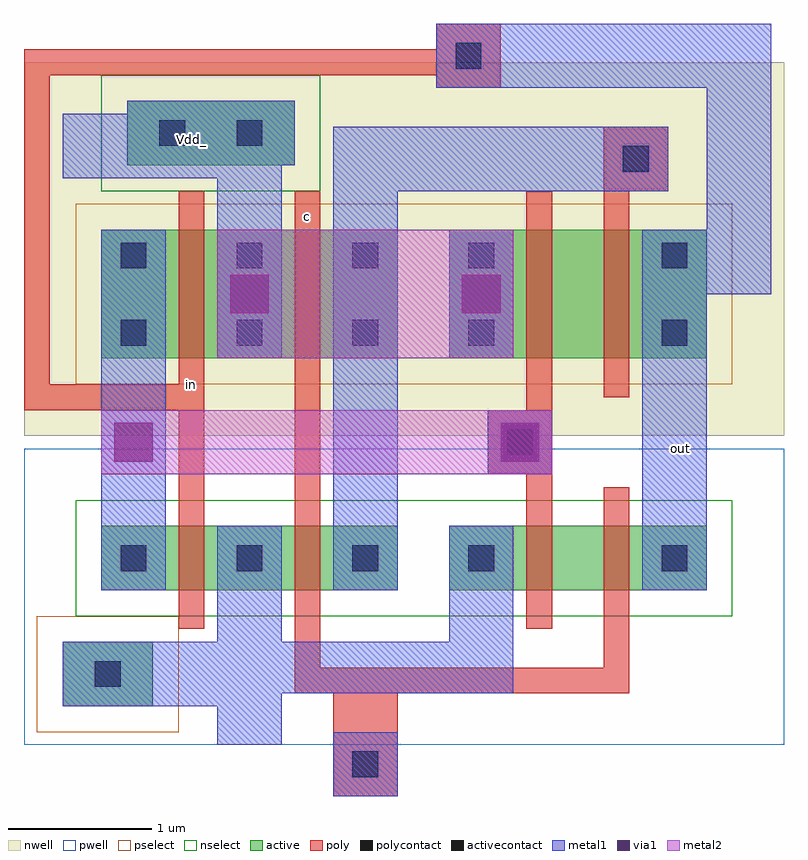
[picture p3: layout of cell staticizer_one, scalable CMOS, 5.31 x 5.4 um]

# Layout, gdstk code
import gdstk
lib = gdstk.Library(unit=1e-6, precision=1e-09)
def R(c, l, rs):  # rectangles x0, y0, x1, y1
    for r in rs: c.add(gdstk.rectangle(r[:2], r[2:], *l))
def A(c, l, x, y, w, h, nx, ny, dx, dy):  # array of equal rectangles
    R(c, l, [(x+i*dx, y+j*dy, x+i*dx+w, y+j*dy+h) for i in range(nx) for j in range(ny)])
pwell = (41, 0)
nwell = (42, 0)
active = (43, 0)
pselect = (44, 0)
nselect = (45, 0)
poly = (46, 0)
polycontact = (47, 0)
activecontact = (48, 0)
metal1 = (49, 0)
via1 = (50, 0)
metal2 = (51, 0)

staticizer_one = lib.new_cell('staticizer_one')
R(staticizer_one, pwell, [(4.86,-5.13,10.17,-3.06)])
R(staticizer_one, nwell, [(4.86,-2.97,10.17,-0.36)])
R(staticizer_one, active, [(5.13,-4.86,5.76,-4.41), (5.4,-4.05,7.47,-3.6), (7.83,-4.05,9.63,-3.6), (5.4,-2.43,7.47,-1.53), (7.83,-2.43,9.63,-1.53), (5.58,-1.08,6.75,-0.63)])
R(staticizer_one, pselect, [(4.95,-5.04,5.94,-4.23), (5.22,-2.61,9.81,-1.35)])
R(staticizer_one, nselect, [(5.22,-4.23,9.81,-3.42), (5.4,-1.26,6.93,-0.45)])
R(staticizer_one, poly, [(7.02,-5.49,7.47,-4.77), (6.75,-4.77,9.09,-4.59), (6.75,-4.59,6.93,-1.26), (8.91,-4.59,9.09,-3.33), (5.94,-4.32,6.12,-2.79), (8.37,-4.32,8.55,-3.24), (8.1,-3.24,8.55,-2.79), (4.86,-2.79,6.12,-2.61), (8.37,-2.79,8.55,-1.26), (8.91,-2.7,9.09,-1.26), (4.86,-2.61,5.04,-0.45), (5.94,-2.61,6.12,-1.26), (8.91,-1.26,9.36,-0.81), (7.74,-0.54,8.19,-0.45), (4.86,-0.45,8.19,-0.27), (7.74,-0.27,8.19,-0.09)])
R(staticizer_one, polycontact, [(7.155,-5.355,7.335,-5.175), (8.235,-3.105,8.415,-2.925), (9.045,-1.125,9.225,-0.945), (7.875,-0.405,8.055,-0.225)])
A(staticizer_one, activecontact, 5.535, -3.915, 0.18, 0.18, 4, 2, 0.81, 1.575)
A(staticizer_one, activecontact, 5.535, -1.8, 0.18, 0.18, 4, 1, 0.81, 0)
R(staticizer_one, activecontact, [(5.355,-4.725,5.535,-4.545), (9.315,-3.915,9.495,-3.735), (9.315,-2.34,9.495,-2.16), (9.315,-1.8,9.495,-1.62), (5.805,-0.945,5.985,-0.765), (6.345,-0.945,6.525,-0.765)])
R(staticizer_one, metal1, [(7.02,-5.49,7.47,-5.04), (6.21,-5.13,6.66,-4.86), (5.13,-4.86,6.66,-4.77), (5.13,-4.77,8.28,-4.41), (6.21,-4.41,6.66,-3.6), (7.83,-4.41,8.28,-3.6), (5.4,-4.05,5.85,-1.53), (7.02,-4.05,7.47,-1.26), (9.18,-4.05,9.63,-1.98), (8.1,-3.24,8.55,-2.79), (6.21,-2.43,6.66,-1.17), (7.83,-2.43,8.28,-1.53), (9.18,-1.98,10.08,-1.53), (9.63,-1.53,10.08,-0.54), (7.02,-1.26,9.36,-0.81), (5.13,-1.17,6.66,-1.08), (5.13,-1.08,6.75,-0.72), (5.58,-0.72,6.75,-0.63), (7.74,-0.54,10.08,-0.09)])
R(staticizer_one, via1, [(5.49,-3.15,5.76,-2.88), (8.19,-3.15,8.46,-2.88), (6.3,-2.115,6.57,-1.845), (7.92,-2.115,8.19,-1.845)])
R(staticizer_one, metal2, [(5.4,-3.24,8.55,-2.79), (6.21,-2.43,8.28,-1.53)])
staticizer_one.add(gdstk.Label('in', (6.03,-2.61), layer=46, texttype=0))
staticizer_one.add(gdstk.Label('out', (9.45,-3.06), layer=49, texttype=0))
staticizer_one.add(gdstk.Label('c', (6.84,-1.44), layer=46, texttype=0))
staticizer_one.add(gdstk.Label('Vdd_', (6.03,-0.9), layer=49, texttype=0))

lib.write_gds('staticizer_one.gds')
